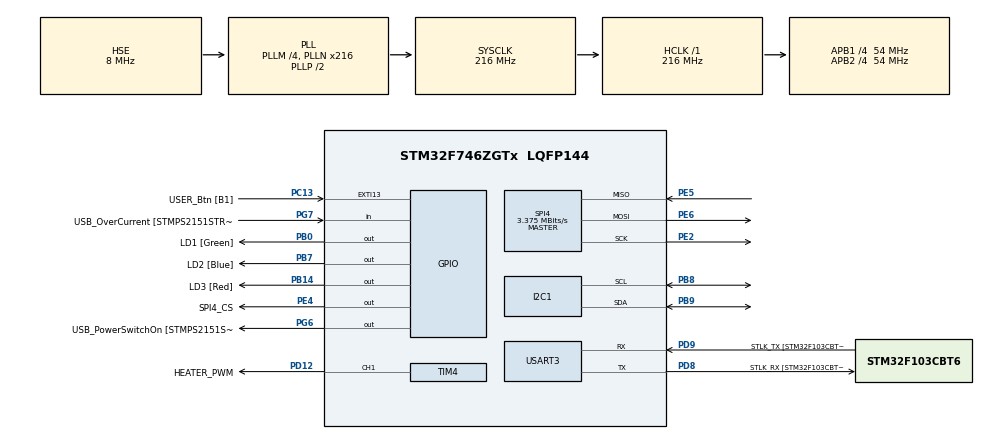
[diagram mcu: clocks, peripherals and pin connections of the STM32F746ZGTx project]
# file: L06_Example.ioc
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I2C1.Timing=0x20404768
Mcu.Family=STM32F7
Mcu.Name=STM32F746ZGTx
Mcu.Package=LQFP144
NVIC.PriorityGroup=NVIC_PRIORITYGROUP_4
NVIC.USART3_IRQn=true\:0\:0\:false\:false\:true\:true\:true\:true
PA1.GPIO_Label=RMII_REF_CLK [LAN8742A-CZ-TR_REFCLK0]
PA1.Signal=ETH_REF_CLK
PA10.GPIO_Label=USB_ID
PA10.Signal=USB_OTG_FS_ID
PA11.GPIO_Label=USB_DM
PA11.Signal=USB_OTG_FS_DM
PA12.GPIO_Label=USB_DP
PA12.Signal=USB_OTG_FS_DP
PA13.GPIO_Label=TMS
PA13.Mode=Serial_Wire
PA13.Signal=SYS_JTMS-SWDIO
PA14.GPIO_Label=TCK
PA14.Mode=Serial_Wire
PA14.Signal=SYS_JTCK-SWCLK
PA2.GPIO_Label=RMII_MDIO [LAN8742A-CZ-TR_MDIO]
PA2.Signal=ETH_MDIO
PA7.GPIO_Label=RMII_CRS_DV [LAN8742A-CZ-TR_CRS_DV]
PA7.Signal=ETH_CRS_DV
PA8.GPIO_Label=USB_SOF [TP1]
PA8.Signal=USB_OTG_FS_SOF
PA9.GPIO_Label=USB_VBUS
PA9.Signal=USB_OTG_FS_VBUS
PB0.GPIO_Label=LD1 [Green]
PB0.Signal=GPIO_Output
PB13.GPIO_Label=RMII_TXD1 [LAN8742A-CZ-TR_TXD1]
PB13.Signal=ETH_TXD1
PB14.GPIO_Label=LD3 [Red]
PB14.Signal=GPIO_Output
PB3.GPIO_Label=SW0
PB3.Signal=SYS_JTDO-SWO
PB7.GPIO_Label=LD2 [Blue]
PB7.Signal=GPIO_Output
PB8.Mode=I2C
PB8.Signal=I2C1_SCL
PB9.Mode=I2C
PB9.Signal=I2C1_SDA
PC1.GPIO_Label=RMII_MDC [LAN8742A-CZ-TR_MDC]
PC1.Signal=ETH_MDC
PC13.GPIO_Label=USER_Btn [B1]
PC13.Signal=GPXTI13
PC14/OSC32_IN.Mode=LSE-External-Oscillator
PC14/OSC32_IN.Signal=RCC_OSC32_IN
PC15/OSC32_OUT.Mode=LSE-External-Oscillator
PC15/OSC32_OUT.Signal=RCC_OSC32_OUT
PC4.GPIO_Label=RMII_RXD0 [LAN8742A-CZ-TR_RXD0]
PC4.Signal=ETH_RXD0
PC5.GPIO_Label=RMII_RXD1 [LAN8742A-CZ-TR_RXD1]
PC5.Signal=ETH_RXD1
PD12.GPIO_Label=HEATER_PWM
PD12.Signal=S_TIM4_CH1
PD8.GPIO_Label=STLK_RX [STM32F103CBT6_PA3]
PD8.GPIO_PuPd=GPIO_PULLUP
PD8.Mode=Asynchronous
PD8.Signal=USART3_TX
PD9.GPIO_Label=STLK_TX [STM32F103CBT6_PA2]
PD9.GPIO_PuPd=GPIO_PULLUP
PD9.Mode=Asynchronous
PD9.Signal=USART3_RX
PE2.Mode=Full_Duplex_Master
PE2.Signal=SPI4_SCK
PE4.GPIO_Label=SPI4_CS
PE4.Signal=GPIO_Output
PE5.Mode=Full_Duplex_Master
PE5.Signal=SPI4_MISO
PE6.Mode=Full_Duplex_Master
PE6.Signal=SPI4_MOSI
PG11.GPIO_Label=RMII_TX_EN [LAN8742A-CZ-TR_TXEN]
PG11.Signal=ETH_TX_EN
PG13.GPIO_Label=RMII_TXD0 [LAN8742A-CZ-TR_TXD0]
PG13.Signal=ETH_TXD0
PG6.GPIO_Label=USB_PowerSwitchOn [STMPS2151STR_EN]
PG6.Signal=GPIO_Output
PG7.GPIO_Label=USB_OverCurrent [STMPS2151STR_FAULT]
PG7.Signal=GPIO_Input
PH0/OSC_IN.GPIO_Label=MCO [STM32F103CBT6_PA8]
PH0/OSC_IN.Mode=HSE-External-Clock-Source
PH0/OSC_IN.Signal=RCC_OSC_IN
PH1/OSC_OUT.Mode=HSE-External-Clock-Source
PH1/OSC_OUT.Signal=RCC_OSC_OUT
ProjectManager.HeapSize=0x200
ProjectManager.StackSize=0x400
ProjectManager.TargetToolchain=STM32CubeIDE
RCC.48MHZClocksFreq_Value=24000000
RCC.AHBFreq_Value=216000000
RCC.APB1CLKDivider=RCC_HCLK_DIV4
RCC.APB1Freq_Value=54000000
RCC.APB1TimFreq_Value=108000000
RCC.APB2CLKDivider=RCC_HCLK_DIV4
RCC.APB2Freq_Value=54000000
RCC.APB2TimFreq_Value=108000000
RCC.CortexFreq_Value=216000000
RCC.HCLKFreq_Value=216000000
RCC.HSE_VALUE=8000000
RCC.HSI_VALUE=16000000
RCC.PLLM=4
RCC.PLLMUL=RCC_PLL_MUL9
RCC.PLLN=216
RCC.PLLQ=3
RCC.PLLSourceVirtual=RCC_PLLSOURCE_HSE
RCC.PRESCALERUSB=RCC_USBCLKSOURCE_PLL_DIV1_5
RCC.SYSCLKFreq_VALUE=216000000
RCC.SYSCLKSource=RCC_SYSCLKSOURCE_PLLCLK
RCC.SYSCLKSourceVirtual=RCC_SYSCLKSOURCE_PLLCLK
RCC.USBFreq_Value=144000000
RCC.VCOOutputFreq_Value=432000000
SH.S_TIM4_CH1.0=TIM4_CH1,PWM Generation1 CH1
SPI4.BaudRatePrescaler=SPI_BAUDRATEPRESCALER_16
SPI4.CLKPhase=SPI_PHASE_2EDGE
SPI4.CLKPolarity=SPI_POLARITY_HIGH
SPI4.CalculateBaudRate=3.375 MBits/s
SPI4.DataSize=SPI_DATASIZE_8BIT
SPI4.Direction=SPI_DIRECTION_2LINES
SPI4.Mode=SPI_MODE_MASTER
SPI4.VirtualType=VM_MASTER
TIM2.Period=250000-1
TIM2.Prescaler=108-1
TIM4.Channel-PWM\ Generation1\ CH1=TIM_CHANNEL_1
TIM4.Period=100 - 1
TIM4.Prescaler=108 - 1
USART3.VirtualMode-Asynchronous=VM_ASYNC
VP_TIM2_VS_ClockSourceINT.Mode=Internal
VP_TIM4_VS_ClockSourceINT.Mode=Internal
board=NUCLEO-F746ZG

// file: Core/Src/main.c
/* USER CODE BEGIN Header */
/**
  ******************************************************************************
  * @file           : main.c
  * @brief          : Main program body
  ******************************************************************************
  * @attention
  *
  * Copyright (c) 2025 STMicroelectronics.
  * All rights reserved.
  *
  * This software is licensed under terms that can be found in the LICENSE file
  * in the root directory of this software component.
  * If no LICENSE file comes with this software, it is provided AS-IS.
  *
  ******************************************************************************
  */
/* USER CODE END Header */
#include "main.h"
#include "i2c.h"
#include "spi.h"
#include "tim.h"
#include "usart.h"
#include "gpio.h"

/* USER CODE BEGIN Includes */
#include <stdio.h>
#include <stdlib.h>
#include <string.h>
#include "bmp280_config.h"
#include "heater_pwm_config.h"
/* USER CODE END Includes */

/* USER CODE BEGIN PV */
double Pressure_hPa, Temperature_degC;
unsigned int Pressure_Pa, Temperature_mdegC;
unsigned int Delay_ms = 250;
char UART_Cmd[] = "X000";
unsigned int UART_CmdLen;
/* USER CODE END PV */

void SystemClock_Config(void);

/* USER CODE BEGIN 0 */
/**
 * @brief  Low-level implementation of the _write system call.
 *
 * This function redirects standard output (e.g., printf) to UART3.
 * It transmits data from the provided buffer over the UART interface.
 *
 * @param[in]  file File descriptor (ignored in this implementation).
 * @param[in]  ptr  Pointer to the data buffer to be transmitted.
 * @param[in]  len  Number of bytes to transmit.
 *
 * @retval Number of bytes transmitted on success.
 * @retval -1 on transmission error.
 *
 * @note This function is typically used when retargeting printf() to UART.
 *       It blocks until all bytes are sent (uses HAL_MAX_DELAY).
 */
int _write(int file, char *ptr, int len)
{
  return (HAL_UART_Transmit(&huart3, (uint8_t*)ptr, len, HAL_MAX_DELAY) == HAL_OK) ? len : -1;
}

/**
  * @brief  Rx Transfer completed callback.
  * @param  huart UART handle.
  * @retval None
  */
void HAL_UART_RxCpltCallback(UART_HandleTypeDef *huart)
{
  if(huart == &huart3)
  {
    unsigned long int TIM_PWM_DutyCycle_tmp = strtol(&UART_Cmd[1], NULL, 10);
    if(UART_Cmd[0] == 'D' || UART_Cmd[0] == 'd')
     HEATER_PWM_WriteDuty(&hheater, (float)TIM_PWM_DutyCycle_tmp);
    HAL_UART_Receive_IT(&huart3, (uint8_t*)UART_Cmd, UART_CmdLen);
  }
}
/* USER CODE END 0 */

int main(void)
{

  /* USER CODE BEGIN 1 */
  setvbuf(stdout, NULL, _IONBF, 0);
  /* USER CODE END 1 */

  /* MCU Configuration--------------------------------------------------------*/

  /* Reset of all peripherals, Initializes the Flash interface and the Systick. */
  HAL_Init();

  /* Configure the system clock */
  SystemClock_Config();

  /* Initialize all configured peripherals */
  MX_GPIO_Init();
  MX_I2C1_Init();
  MX_USART3_UART_Init();
  MX_SPI4_Init();
  MX_TIM4_Init();
  MX_TIM2_Init();
  /* USER CODE BEGIN 2 */
  BMP2_Init(&bmp2dev);
  HEATER_PWM_Init(&hheater);
  UART_CmdLen = strlen(UART_Cmd);
  HAL_UART_Receive_IT(&huart3, (uint8_t*)UART_Cmd, UART_CmdLen);
  HAL_TIM_Base_Start(&htim2);
  /* USER CODE END 2 */

  /* Infinite loop */
  /* USER CODE BEGIN WHILE */
  while (1)
  {
    if(__HAL_TIM_GET_FLAG(&htim2, TIM_FLAG_UPDATE))
    {
      __HAL_TIM_CLEAR_FLAG(&htim2, TIM_FLAG_UPDATE);
      BMP2_ReadData(&bmp2dev, &Pressure_hPa, &Temperature_degC);
      Pressure_Pa = 100*Pressure_hPa;
      Temperature_mdegC = 1000*Temperature_degC;
      printf("{\"temperature\":%5u.%03d,\"pressure\":%5u.%03d}\r", Temperature_mdegC / 1000, Temperature_mdegC % 1000, Pressure_Pa / 100, Pressure_Pa % 100);
    }
    /* USER CODE END WHILE */

  }
}

void SystemClock_Config(void)
{
  RCC_OscInitTypeDef RCC_OscInitStruct = {0};
  RCC_ClkInitTypeDef RCC_ClkInitStruct = {0};

  /** Configure LSE Drive Capability
  */
  HAL_PWR_EnableBkUpAccess();

  /** Configure the main internal regulator output voltage
  */
  __HAL_RCC_PWR_CLK_ENABLE();
  __HAL_PWR_VOLTAGESCALING_CONFIG(PWR_REGULATOR_VOLTAGE_SCALE1);

  /** Initializes the RCC Oscillators according to the specified parameters
  * in the RCC_OscInitTypeDef structure.
  */
  RCC_OscInitStruct.OscillatorType = RCC_OSCILLATORTYPE_HSE;
  RCC_OscInitStruct.HSEState = RCC_HSE_BYPASS;
  RCC_OscInitStruct.PLL.PLLState = RCC_PLL_ON;
  RCC_OscInitStruct.PLL.PLLSource = RCC_PLLSOURCE_HSE;
  RCC_OscInitStruct.PLL.PLLM = 4;
  RCC_OscInitStruct.PLL.PLLN = 216;
  RCC_OscInitStruct.PLL.PLLP = RCC_PLLP_DIV2;
  RCC_OscInitStruct.PLL.PLLQ = 3;
  if (HAL_RCC_OscConfig(&RCC_OscInitStruct) != HAL_OK)
  {
    Error_Handler();
  }

  /** Activate the Over-Drive mode
  */
  if (HAL_PWREx_EnableOverDrive() != HAL_OK)
  {
    Error_Handler();
  }

  /** Initializes the CPU, AHB and APB buses clocks
  */
  RCC_ClkInitStruct.ClockType = RCC_CLOCKTYPE_HCLK|RCC_CLOCKTYPE_SYSCLK
                              |RCC_CLOCKTYPE_PCLK1|RCC_CLOCKTYPE_PCLK2;
  RCC_ClkInitStruct.SYSCLKSource = RCC_SYSCLKSOURCE_PLLCLK;
  RCC_ClkInitStruct.AHBCLKDivider = RCC_SYSCLK_DIV1;
  RCC_ClkInitStruct.APB1CLKDivider = RCC_HCLK_DIV4;
  RCC_ClkInitStruct.APB2CLKDivider = RCC_HCLK_DIV4;

  if (HAL_RCC_ClockConfig(&RCC_ClkInitStruct, FLASH_LATENCY_7) != HAL_OK)
  {
    Error_Handler();
  }
}

void Error_Handler(void)
{
  __disable_irq();
  while (1)
  {
  }
}
